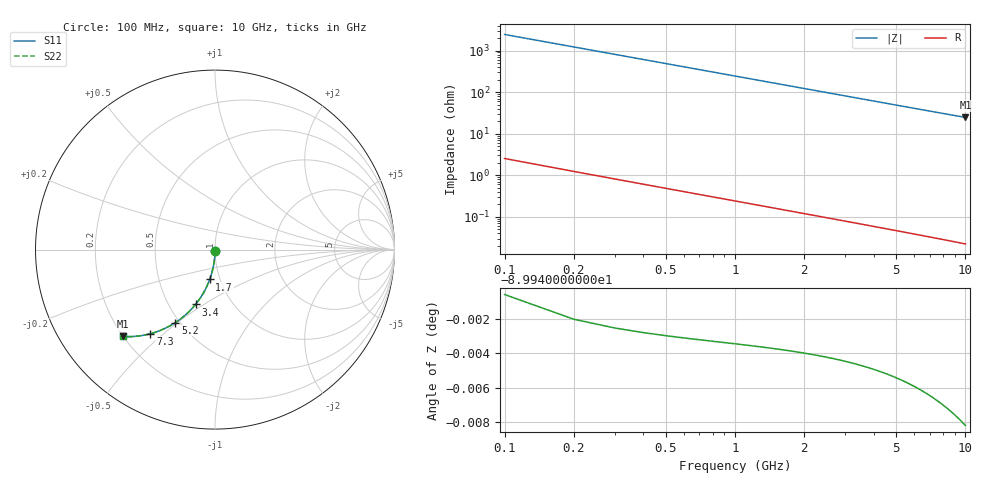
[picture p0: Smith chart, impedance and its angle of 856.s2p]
# Hz S RI R 50.00
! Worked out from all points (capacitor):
!   100 points, 100 MHz to 10 GHz, reference 50 ohm
!   read as one part in shunt: C = 652 fF near 100 MHz
!   lowest |Z| = 24.7 ohm at 10 GHz (marker M1)
!   S11 on the Smith chart (normalised r, x): 100 MHz: 1.00, -0.02; 1.7 GHz: 0.89, -0.31; 3.4 GHz: 0.68, -0.46; 5.2 GHz: 0.47, -0.49; 7.3 GHz: 0.31, -0.45; 10 GHz: 0.20, -0.38
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1e8  -2.3e-05 -0.0101  0.9998 -0.0104  0.9998 -0.0104  -2.3e-05 -0.0101
2e8  -0.000346 -0.0202  0.9995 -0.0208  0.9995 -0.0208  -0.000346 -0.0202
3e8  -0.000879 -0.0302  0.9989 -0.0311  0.9989 -0.0311  -0.000879 -0.0302
4e8  -0.00162 -0.0403  0.9982 -0.0415  0.9982 -0.0415  -0.00162 -0.0403
5e8  -0.00257 -0.0503  0.9972 -0.0518  0.9972 -0.0518  -0.00257 -0.0503
6e8  -0.00372 -0.0603  0.9961 -0.0621  0.9961 -0.0621  -0.00372 -0.0603
8e8  -0.00664 -0.0801  0.9932 -0.0825  0.9932 -0.0825  -0.00664 -0.0801
1.1e9  -0.0125 -0.1095  0.9873 -0.1128  0.9873 -0.1128  -0.0125 -0.1095
1.4e9  -0.0202 -0.1383  0.9796 -0.1425  0.9796 -0.1425  -0.0202 -0.1383
1.7e9  -0.0294 -0.1663  0.9703 -0.1714  0.9703 -0.1714  -0.0294 -0.1663
1.8e9  -0.0329 -0.1754  0.9669 -0.1808  0.9669 -0.1808  -0.0329 -0.1754
2.1e9  -0.0443 -0.2023  0.9555 -0.2086  0.9555 -0.2086  -0.0443 -0.2023
2.5e9  -0.0616 -0.2364  0.9382 -0.2439  0.9382 -0.2439  -0.0616 -0.2364
2.9e9  -0.0812 -0.2684  0.9186 -0.2771  0.9186 -0.2771  -0.0812 -0.2684
3.4e9  -0.1083 -0.3053  0.8915 -0.3155  0.8915 -0.3155  -0.1083 -0.3053
4.2e9  -0.1564 -0.3565  0.8433 -0.3692  0.8433 -0.3692  -0.1564 -0.3565
5.1e9  -0.2148 -0.4026  0.7849 -0.418  0.7849 -0.418  -0.2148 -0.4026
5.2e9  -0.2214 -0.407  0.7782 -0.4226  0.7782 -0.4226  -0.2214 -0.407
6.7e9  -0.3211 -0.4563  0.6785 -0.4766  0.6785 -0.4766  -0.3211 -0.4563
7.3e9  -0.3597 -0.4684  0.6398 -0.4905  0.6398 -0.4905  -0.3597 -0.4684
8.4e9  -0.427 -0.4814  0.5724 -0.5069  0.5724 -0.5069  -0.427 -0.4814
1e10  -0.5144 -0.4841  0.4849 -0.5145  0.4849 -0.5145  -0.5144 -0.4841
